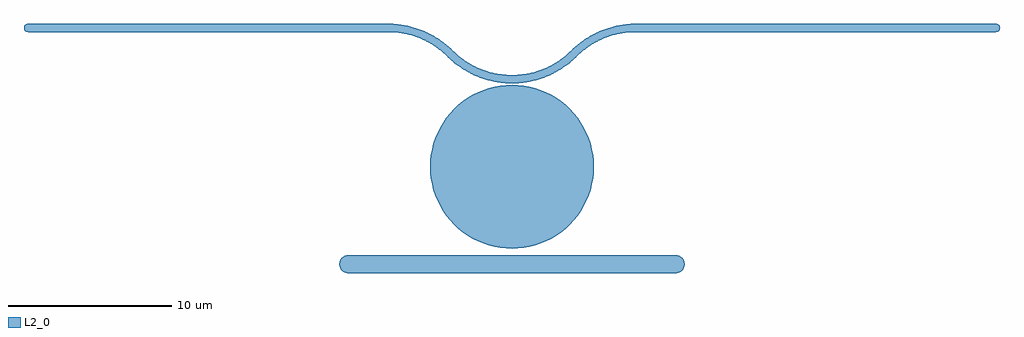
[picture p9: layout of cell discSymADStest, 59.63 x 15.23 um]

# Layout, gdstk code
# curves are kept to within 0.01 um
import gdstk
lib = gdstk.Library(unit=1e-6, precision=1e-09)
def R(c, l, rs):  # rectangles x0, y0, x1, y1
    for r in rs: c.add(gdstk.rectangle(r[:2], r[2:], *l))
def P(c, l, *ps):  # polygons
    for p in ps: c.add(gdstk.Polygon(p, *l))
L2_0 = (2, 0)

discsymadstest = lib.new_cell('discSymADStest')
R(discsymadstest, L2_0, [(0,13.5,20,14.6)])
P(discsymadstest, L2_0, [(10,15),(9.643,15.013),(9.288,15.051),(8.937,15.114),(8.591,15.203),(8.253,15.315),(7.923,15.452),(7.604,15.612),(7.297,15.794),(7.004,15.997),(6.726,16.221),(6.464,16.464),(6.221,16.726),(5.997,17.004),(5.794,17.297),(5.612,17.604),(5.452,17.923),(5.315,18.253),(5.203,18.591),(5.114,18.937),(5.051,19.288),(5.013,19.643),(5,20),(5.013,20.357),(5.051,20.712),(5.114,21.063),(5.203,21.409),(5.315,21.747),(5.452,22.077),(5.612,22.396),(5.794,22.703),(5.997,22.996),(6.221,23.274),(6.464,23.536),(6.726,23.779),(7.004,24.003),(7.297,24.206),(7.604,24.388),(7.923,24.548),(8.253,24.685),(8.591,24.797),(8.937,24.886),(9.288,24.949),(9.643,24.987),(10,25),(10.357,24.987),(10.712,24.949),(11.063,24.886),(11.409,24.797),(11.747,24.685),(12.077,24.548),(12.396,24.388),(12.703,24.206),(12.996,24.003),(13.274,23.779),(13.536,23.536),(13.779,23.274),(14.003,22.996),(14.206,22.703),(14.388,22.396),(14.548,22.077),(14.685,21.747),(14.797,21.409),(14.886,21.063),(14.949,20.712),(14.987,20.357),(15,20),(14.987,19.643),(14.949,19.288),(14.886,18.937),(14.797,18.591),(14.685,18.253),(14.548,17.923),(14.388,17.604),(14.206,17.297),(14.003,17.004),(13.779,16.726),(13.536,16.464),(13.274,16.221),(12.996,15.997),(12.703,15.794),(12.396,15.612),(12.077,15.452),(11.747,15.315),(11.409,15.203),(11.063,15.114),(10.712,15.051),(10.357,15.013)],
  [(10,25.1),(9.401,25.132),(8.81,25.228),(8.327,25.356),(7.765,25.565),(7.316,25.785),(6.806,26.1),(6.409,26.403),(5.842,26.928),(5.563,27.162),(5.267,27.374),(4.958,27.566),(4.553,27.773),(4.045,27.973),(3.607,28.097),(3.07,28.194),(2.707,28.227),(2.434,28.234),(-19.566,28.234),(-19.566,28.734),(2.434,28.734),(3.033,28.702),(3.624,28.606),(4.107,28.478),(4.669,28.269),(5.118,28.049),(5.462,27.845),(5.869,27.556),(6.176,27.3),(6.66,26.846),(7.017,26.563),(7.476,26.268),(7.881,26.061),(8.389,25.861),(8.916,25.717),(9.455,25.629),(10,25.6),(10.545,25.629),(11.084,25.717),(11.611,25.861),(12.119,26.061),(12.524,26.268),(12.983,26.563),(13.34,26.846),(13.824,27.3),(14.131,27.556),(14.538,27.845),(14.882,28.049),(15.331,28.269),(15.893,28.478),(16.376,28.606),(16.967,28.702),(17.566,28.734),(39.566,28.734),(39.566,28.234),(17.566,28.234),(17.293,28.227),(16.93,28.194),(16.393,28.097),(15.955,27.973),(15.447,27.773),(15.042,27.566),(14.733,27.374),(14.437,27.162),(14.158,26.928),(13.591,26.403),(13.194,26.1),(12.684,25.785),(12.235,25.565),(11.673,25.356),(11.19,25.228),(10.599,25.132)],
  [(-19.566,28.234),(-19.663,28.254),(-19.743,28.307),(-19.796,28.387),(-19.816,28.484),(-19.796,28.581),(-19.743,28.661),(-19.663,28.714),(-19.566,28.734)],
  [(39.566,28.234),(39.566,28.734),(39.663,28.714),(39.743,28.661),(39.796,28.581),(39.816,28.484),(39.796,28.387),(39.743,28.307),(39.663,28.254)],
  [(20,13.5),(20,14.6),(20.111,14.589),(20.214,14.557),(20.308,14.506),(20.389,14.439),(20.456,14.358),(20.507,14.264),(20.539,14.161),(20.55,14.05),(20.539,13.939),(20.507,13.836),(20.456,13.742),(20.389,13.661),(20.308,13.594),(20.214,13.543),(20.111,13.511)],
  [(0,13.5),(-0.111,13.511),(-0.214,13.543),(-0.308,13.594),(-0.389,13.661),(-0.456,13.742),(-0.507,13.836),(-0.539,13.939),(-0.55,14.05),(-0.539,14.161),(-0.507,14.264),(-0.456,14.358),(-0.389,14.439),(-0.308,14.506),(-0.214,14.557),(-0.111,14.589),(0,14.6)])

lib.write_gds('discSymADStest.gds')
